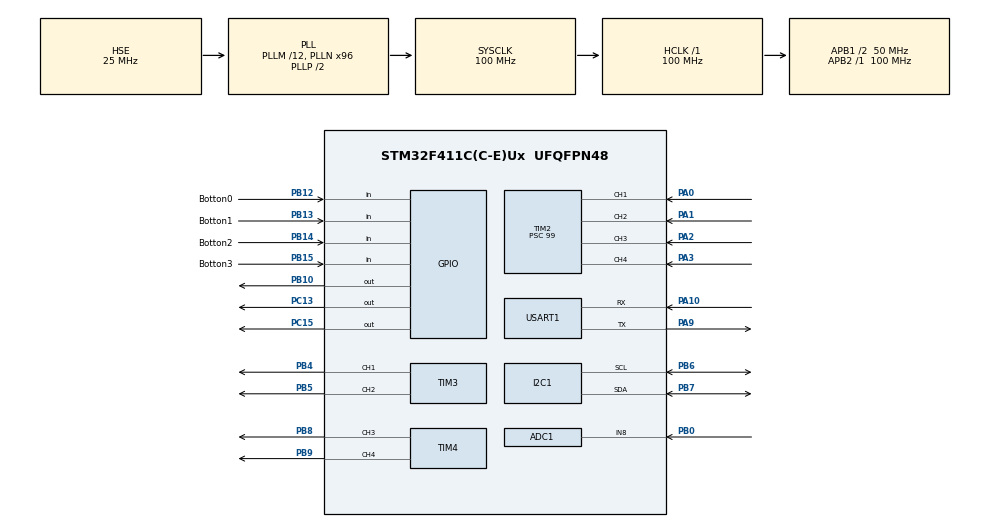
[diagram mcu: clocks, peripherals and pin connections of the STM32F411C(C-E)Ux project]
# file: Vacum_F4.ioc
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ADC1.Channel-2\#ChannelRegularConversion=ADC_CHANNEL_8
ADC1.NbrOfConversionFlag=1
ADC1.Rank-2\#ChannelRegularConversion=1
ADC1.SamplingTime-2\#ChannelRegularConversion=ADC_SAMPLETIME_3CYCLES
ADC1.master=1
Mcu.Family=STM32F4
Mcu.Name=STM32F411C(C-E)Ux
Mcu.Package=UFQFPN48
NVIC.PriorityGroup=NVIC_PRIORITYGROUP_4
NVIC.TIM2_IRQn=true\:0\:0\:false\:false\:true\:true\:true\:true
NVIC.TIM3_IRQn=true\:0\:0\:false\:false\:true\:true\:true\:true
NVIC.TIM4_IRQn=true\:0\:0\:false\:false\:true\:true\:true\:true
PA0-WKUP.Signal=S_TIM2_CH1_ETR
PA1.Signal=S_TIM2_CH2
PA10.Mode=Asynchronous
PA10.Signal=USART1_RX
PA13.Mode=Serial_Wire
PA13.Signal=SYS_JTMS-SWDIO
PA14.Mode=Serial_Wire
PA14.Signal=SYS_JTCK-SWCLK
PA2.Signal=S_TIM2_CH3
PA3.Signal=S_TIM2_CH4
PA9.Mode=Asynchronous
PA9.Signal=USART1_TX
PB0.Signal=ADCx_IN8
PB10.Signal=GPIO_Output
PB12.GPIO_Label=Botton0
PB12.GPIO_PuPd=GPIO_PULLUP
PB12.Signal=GPIO_Input
PB13.GPIO_Label=Botton1
PB13.GPIO_PuPd=GPIO_PULLUP
PB13.Signal=GPIO_Input
PB14.GPIO_Label=Botton2
PB14.GPIO_PuPd=GPIO_PULLUP
PB14.Signal=GPIO_Input
PB15.GPIO_Label=Botton3
PB15.GPIO_PuPd=GPIO_PULLUP
PB15.Signal=GPIO_Input
PB4.Signal=S_TIM3_CH1
PB5.Signal=S_TIM3_CH2
PB6.Mode=I2C
PB6.Signal=I2C1_SCL
PB7.Mode=I2C
PB7.Signal=I2C1_SDA
PB8.Signal=S_TIM4_CH3
PB9.Signal=S_TIM4_CH4
PC13-ANTI_TAMP.Signal=GPIO_Output
PC15-OSC32_OUT.Signal=GPIO_Output
PH0\ -\ OSC_IN.Mode=HSE-External-Oscillator
PH0\ -\ OSC_IN.Signal=RCC_OSC_IN
PH1\ -\ OSC_OUT.Mode=HSE-External-Oscillator
PH1\ -\ OSC_OUT.Signal=RCC_OSC_OUT
ProjectManager.HeapSize=0x200
ProjectManager.StackSize=0x400
ProjectManager.TargetToolchain=Makefile
RCC.48MHZClocksFreq_Value=50000000
RCC.AHBFreq_Value=100000000
RCC.APB1CLKDivider=RCC_HCLK_DIV2
RCC.APB1Freq_Value=50000000
RCC.APB1TimFreq_Value=100000000
RCC.APB2Freq_Value=100000000
RCC.APB2TimFreq_Value=100000000
RCC.CortexFreq_Value=100000000
RCC.HCLKFreq_Value=100000000
RCC.HSE_VALUE=25000000
RCC.HSI_VALUE=16000000
RCC.LSE_VALUE=32768
RCC.PLLM=12
RCC.PLLN=96
RCC.PLLSourceVirtual=RCC_PLLSOURCE_HSE
RCC.SYSCLKFreq_VALUE=100000000
RCC.SYSCLKSource=RCC_SYSCLKSOURCE_PLLCLK
RCC.VCOOutputFreq_Value=200000000
SH.ADCx_IN8.0=ADC1_IN8,IN8
SH.S_TIM2_CH1_ETR.0=TIM2_CH1,Input_Capture1_from_TI1
SH.S_TIM2_CH2.0=TIM2_CH2,Input_Capture2_from_TI2
SH.S_TIM2_CH3.0=TIM2_CH3,Input_Capture3_from_TI3
SH.S_TIM2_CH4.0=TIM2_CH4,Input_Capture4_from_TI4
SH.S_TIM3_CH1.0=TIM3_CH1,PWM Generation1 CH1
SH.S_TIM3_CH2.0=TIM3_CH2,PWM Generation2 CH2
SH.S_TIM4_CH3.0=TIM4_CH3,PWM Generation3 CH3
SH.S_TIM4_CH4.0=TIM4_CH4,PWM Generation4 CH4
TIM2.Channel-Input_Capture1_from_TI1=TIM_CHANNEL_1
TIM2.Channel-Input_Capture2_from_TI2=TIM_CHANNEL_2
TIM2.Channel-Input_Capture3_from_TI3=TIM_CHANNEL_3
TIM2.Channel-Input_Capture4_from_TI4=TIM_CHANNEL_4
TIM2.ClockDivision=TIM_CLOCKDIVISION_DIV1
TIM2.ICPolarity_CH1=TIM_INPUTCHANNELPOLARITY_RISING
TIM2.ICPolarity_CH2=TIM_INPUTCHANNELPOLARITY_RISING
TIM2.ICPolarity_CH3=TIM_INPUTCHANNELPOLARITY_RISING
TIM2.Prescaler=99
TIM3.Channel-PWM\ Generation1\ CH1=TIM_CHANNEL_1
TIM3.Channel-PWM\ Generation2\ CH2=TIM_CHANNEL_2
TIM4.Channel-PWM\ Generation3\ CH3=TIM_CHANNEL_3
TIM4.Channel-PWM\ Generation4\ CH4=TIM_CHANNEL_4
USART1.VirtualMode=VM_ASYNC
VP_TIM2_VS_ClockSourceINT.Mode=Internal
VP_TIM3_VS_ClockSourceINT.Mode=Internal
VP_TIM4_VS_ClockSourceINT.Mode=Internal
board=custom

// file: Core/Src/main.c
/* USER CODE BEGIN Header */
/**
  ******************************************************************************
  * @file           : main.c
  * @brief          : Main program body
  ******************************************************************************
  * @attention
  *
  * Copyright (c) 2024 STMicroelectronics.
  * All rights reserved.
  *
  * This software is licensed under terms that can be found in the LICENSE file
  * in the root directory of this software component.
  * If no LICENSE file comes with this software, it is provided AS-IS.
  *
  ******************************************************************************
  */
/* USER CODE END Header */
#include "main.h"

ADC_HandleTypeDef hadc1;

I2C_HandleTypeDef hi2c1;

TIM_HandleTypeDef htim2;
TIM_HandleTypeDef htim3;
TIM_HandleTypeDef htim4;

UART_HandleTypeDef huart1;

/* USER CODE BEGIN PV */
extern float distance[4];
extern uint8_t status[4];
/* USER CODE END PV */

void SystemClock_Config(void);
static void MX_GPIO_Init(void);
static void MX_ADC1_Init(void);
static void MX_TIM2_Init(void);
static void MX_I2C1_Init(void);
static void MX_TIM3_Init(void);
static void MX_TIM4_Init(void);
static void MX_USART1_UART_Init(void);

int main(void)
{

  /* USER CODE BEGIN 1 */
  MPU6050_t MPU6050_Data;

  /* USER CODE END 1 */

  /* MCU Configuration--------------------------------------------------------*/

  /* Reset of all peripherals, Initializes the Flash interface and the Systick. */
  HAL_Init();

  /* Configure the system clock */
  SystemClock_Config();

  /* Initialize all configured peripherals */
  MX_GPIO_Init();
  MX_ADC1_Init();
  MX_TIM2_Init();
  MX_I2C1_Init();
  MX_TIM3_Init();
  MX_TIM4_Init();
  MX_USART1_UART_Init();
  /* USER CODE BEGIN 2 */
  setup_motor_dc();
  HAL_Delay(500); // Delay
  while(MPU6050_Data.MPU6050_address != 0x68){
    MPU6050_Data.MPU6050_address =MPU6050_Init(&hi2c1);
    if(MPU6050_Data.MPU6050_address != 0x68){
      __HAL_I2C_DISABLE(&hi2c1);
      HAL_Delay(50);
      __HAL_I2C_ENABLE(&hi2c1);
      MPU6050_ResetProcedure(&hi2c1);
    }
  }

  HAL_TIM_IC_Start_IT(&htim2, TIM_CHANNEL_1);
  HAL_TIM_IC_Start_IT(&htim2, TIM_CHANNEL_2);
  HAL_TIM_IC_Start_IT(&htim2, TIM_CHANNEL_3);
  HAL_TIM_IC_Start_IT(&htim2, TIM_CHANNEL_4);
  /* USER CODE END 2 */

  /* Infinite loop */
  /* USER CODE BEGIN WHILE */
  while (1)
  {
    // Ultrasonic_Get_Distance();
    // MPU6050_Read_All(&hi2c1, &MPU6050_Data);
    Get_XYZ_Angles(&hi2c1);
    /* USER CODE END WHILE */

  }
}

void SystemClock_Config(void)
{
  RCC_OscInitTypeDef RCC_OscInitStruct = {0};
  RCC_ClkInitTypeDef RCC_ClkInitStruct = {0};

  /** Configure the main internal regulator output voltage
  */
  __HAL_RCC_PWR_CLK_ENABLE();
  __HAL_PWR_VOLTAGESCALING_CONFIG(PWR_REGULATOR_VOLTAGE_SCALE1);

  /** Initializes the RCC Oscillators according to the specified parameters
  * in the RCC_OscInitTypeDef structure.
  */
  RCC_OscInitStruct.OscillatorType = RCC_OSCILLATORTYPE_HSE;
  RCC_OscInitStruct.HSEState = RCC_HSE_ON;
  RCC_OscInitStruct.PLL.PLLState = RCC_PLL_ON;
  RCC_OscInitStruct.PLL.PLLSource = RCC_PLLSOURCE_HSE;
  RCC_OscInitStruct.PLL.PLLM = 12;
  RCC_OscInitStruct.PLL.PLLN = 96;
  RCC_OscInitStruct.PLL.PLLP = RCC_PLLP_DIV2;
  RCC_OscInitStruct.PLL.PLLQ = 4;
  if (HAL_RCC_OscConfig(&RCC_OscInitStruct) != HAL_OK)
  {
    Error_Handler();
  }

  /** Initializes the CPU, AHB and APB buses clocks
  */
  RCC_ClkInitStruct.ClockType = RCC_CLOCKTYPE_HCLK|RCC_CLOCKTYPE_SYSCLK
                              |RCC_CLOCKTYPE_PCLK1|RCC_CLOCKTYPE_PCLK2;
  RCC_ClkInitStruct.SYSCLKSource = RCC_SYSCLKSOURCE_PLLCLK;
  RCC_ClkInitStruct.AHBCLKDivider = RCC_SYSCLK_DIV1;
  RCC_ClkInitStruct.APB1CLKDivider = RCC_HCLK_DIV2;
  RCC_ClkInitStruct.APB2CLKDivider = RCC_HCLK_DIV1;

  if (HAL_RCC_ClockConfig(&RCC_ClkInitStruct, FLASH_LATENCY_3) != HAL_OK)
  {
    Error_Handler();
  }
}

static void MX_ADC1_Init(void)
{

  ADC_ChannelConfTypeDef sConfig = {0};

  /** Configure the global features of the ADC (Clock, Resolution, Data Alignment and number of conversion)
  */
  hadc1.Instance = ADC1;
  hadc1.Init.ClockPrescaler = ADC_CLOCK_SYNC_PCLK_DIV4;
  hadc1.Init.Resolution = ADC_RESOLUTION_12B;
  hadc1.Init.ScanConvMode = DISABLE;
  hadc1.Init.ContinuousConvMode = DISABLE;
  hadc1.Init.DiscontinuousConvMode = DISABLE;
  hadc1.Init.ExternalTrigConvEdge = ADC_EXTERNALTRIGCONVEDGE_NONE;
  hadc1.Init.ExternalTrigConv = ADC_SOFTWARE_START;
  hadc1.Init.DataAlign = ADC_DATAALIGN_RIGHT;
  hadc1.Init.NbrOfConversion = 1;
  hadc1.Init.DMAContinuousRequests = DISABLE;
  hadc1.Init.EOCSelection = ADC_EOC_SINGLE_CONV;
  if (HAL_ADC_Init(&hadc1) != HAL_OK)
  {
    Error_Handler();
  }

  /** Configure for the selected ADC regular channel its corresponding rank in the sequencer and its sample time.
  */
  sConfig.Channel = ADC_CHANNEL_8;
  sConfig.Rank = 1;
  sConfig.SamplingTime = ADC_SAMPLETIME_3CYCLES;
  if (HAL_ADC_ConfigChannel(&hadc1, &sConfig) != HAL_OK)
  {
    Error_Handler();
  }

}

static void MX_I2C1_Init(void)
{

  hi2c1.Instance = I2C1;
  hi2c1.Init.ClockSpeed = 100000;
  hi2c1.Init.DutyCycle = I2C_DUTYCYCLE_2;
  hi2c1.Init.OwnAddress1 = 0;
  hi2c1.Init.AddressingMode = I2C_ADDRESSINGMODE_7BIT;
  hi2c1.Init.DualAddressMode = I2C_DUALADDRESS_DISABLE;
  hi2c1.Init.OwnAddress2 = 0;
  hi2c1.Init.GeneralCallMode = I2C_GENERALCALL_DISABLE;
  hi2c1.Init.NoStretchMode = I2C_NOSTRETCH_DISABLE;
  if (HAL_I2C_Init(&hi2c1) != HAL_OK)
  {
    Error_Handler();
  }

}

static void MX_TIM2_Init(void)
{

  TIM_ClockConfigTypeDef sClockSourceConfig = {0};
  TIM_MasterConfigTypeDef sMasterConfig = {0};
  TIM_IC_InitTypeDef sConfigIC = {0};

  htim2.Instance = TIM2;
  htim2.Init.Prescaler = 99;
  htim2.Init.CounterMode = TIM_COUNTERMODE_UP;
  htim2.Init.Period = 4294967295;
  htim2.Init.ClockDivision = TIM_CLOCKDIVISION_DIV1;
  htim2.Init.AutoReloadPreload = TIM_AUTORELOAD_PRELOAD_DISABLE;
  if (HAL_TIM_Base_Init(&htim2) != HAL_OK)
  {
    Error_Handler();
  }
  sClockSourceConfig.ClockSource = TIM_CLOCKSOURCE_INTERNAL;
  if (HAL_TIM_ConfigClockSource(&htim2, &sClockSourceConfig) != HAL_OK)
  {
    Error_Handler();
  }
  if (HAL_TIM_IC_Init(&htim2) != HAL_OK)
  {
    Error_Handler();
  }
  sMasterConfig.MasterOutputTrigger = TIM_TRGO_RESET;
  sMasterConfig.MasterSlaveMode = TIM_MASTERSLAVEMODE_DISABLE;
  if (HAL_TIMEx_MasterConfigSynchronization(&htim2, &sMasterConfig) != HAL_OK)
  {
    Error_Handler();
  }
  sConfigIC.ICPolarity = TIM_INPUTCHANNELPOLARITY_RISING;
  sConfigIC.ICSelection = TIM_ICSELECTION_DIRECTTI;
  sConfigIC.ICPrescaler = TIM_ICPSC_DIV1;
  sConfigIC.ICFilter = 0;
  if (HAL_TIM_IC_ConfigChannel(&htim2, &sConfigIC, TIM_CHANNEL_1) != HAL_OK)
  {
    Error_Handler();
  }
  if (HAL_TIM_IC_ConfigChannel(&htim2, &sConfigIC, TIM_CHANNEL_2) != HAL_OK)
  {
    Error_Handler();
  }
  if (HAL_TIM_IC_ConfigChannel(&htim2, &sConfigIC, TIM_CHANNEL_3) != HAL_OK)
  {
    Error_Handler();
  }
  if (HAL_TIM_IC_ConfigChannel(&htim2, &sConfigIC, TIM_CHANNEL_4) != HAL_OK)
  {
    Error_Handler();
  }

}

static void MX_TIM3_Init(void)
{

  TIM_ClockConfigTypeDef sClockSourceConfig = {0};
  TIM_MasterConfigTypeDef sMasterConfig = {0};
  TIM_OC_InitTypeDef sConfigOC = {0};

  htim3.Instance = TIM3;
  htim3.Init.Prescaler = 0;
  htim3.Init.CounterMode = TIM_COUNTERMODE_UP;
  htim3.Init.Period = 65535;
  htim3.Init.ClockDivision = TIM_CLOCKDIVISION_DIV1;
  htim3.Init.AutoReloadPreload = TIM_AUTORELOAD_PRELOAD_DISABLE;
  if (HAL_TIM_Base_Init(&htim3) != HAL_OK)
  {
    Error_Handler();
  }
  sClockSourceConfig.ClockSource = TIM_CLOCKSOURCE_INTERNAL;
  if (HAL_TIM_ConfigClockSource(&htim3, &sClockSourceConfig) != HAL_OK)
  {
    Error_Handler();
  }
  if (HAL_TIM_PWM_Init(&htim3) != HAL_OK)
  {
    Error_Handler();
  }
  sMasterConfig.MasterOutputTrigger = TIM_TRGO_RESET;
  sMasterConfig.MasterSlaveMode = TIM_MASTERSLAVEMODE_DISABLE;
  if (HAL_TIMEx_MasterConfigSynchronization(&htim3, &sMasterConfig) != HAL_OK)
  {
    Error_Handler();
  }
  sConfigOC.OCMode = TIM_OCMODE_PWM1;
  sConfigOC.Pulse = 0;
  sConfigOC.OCPolarity = TIM_OCPOLARITY_HIGH;
  sConfigOC.OCFastMode = TIM_OCFAST_DISABLE;
  if (HAL_TIM_PWM_ConfigChannel(&htim3, &sConfigOC, TIM_CHANNEL_1) != HAL_OK)
  {
    Error_Handler();
  }
  if (HAL_TIM_PWM_ConfigChannel(&htim3, &sConfigOC, TIM_CHANNEL_2) != HAL_OK)
  {
    Error_Handler();
  }
  HAL_TIM_MspPostInit(&htim3);

}

static void MX_TIM4_Init(void)
{

  TIM_ClockConfigTypeDef sClockSourceConfig = {0};
  TIM_MasterConfigTypeDef sMasterConfig = {0};
  TIM_OC_InitTypeDef sConfigOC = {0};

  htim4.Instance = TIM4;
  htim4.Init.Prescaler = 0;
  htim4.Init.CounterMode = TIM_COUNTERMODE_UP;
  htim4.Init.Period = 65535;
  htim4.Init.ClockDivision = TIM_CLOCKDIVISION_DIV1;
  htim4.Init.AutoReloadPreload = TIM_AUTORELOAD_PRELOAD_DISABLE;
  if (HAL_TIM_Base_Init(&htim4) != HAL_OK)
  {
    Error_Handler();
  }
  sClockSourceConfig.ClockSource = TIM_CLOCKSOURCE_INTERNAL;
  if (HAL_TIM_ConfigClockSource(&htim4, &sClockSourceConfig) != HAL_OK)
  {
    Error_Handler();
  }
  if (HAL_TIM_PWM_Init(&htim4) != HAL_OK)
  {
    Error_Handler();
  }
  sMasterConfig.MasterOutputTrigger = TIM_TRGO_RESET;
  sMasterConfig.MasterSlaveMode = TIM_MASTERSLAVEMODE_DISABLE;
  if (HAL_TIMEx_MasterConfigSynchronization(&htim4, &sMasterConfig) != HAL_OK)
  {
    Error_Handler();
  }
  sConfigOC.OCMode = TIM_OCMODE_PWM1;
  sConfigOC.Pulse = 0;
  sConfigOC.OCPolarity = TIM_OCPOLARITY_HIGH;
  sConfigOC.OCFastMode = TIM_OCFAST_DISABLE;
  if (HAL_TIM_PWM_ConfigChannel(&htim4, &sConfigOC, TIM_CHANNEL_3) != HAL_OK)
  {
    Error_Handler();
  }
  if (HAL_TIM_PWM_ConfigChannel(&htim4, &sConfigOC, TIM_CHANNEL_4) != HAL_OK)
  {
    Error_Handler();
  }
  HAL_TIM_MspPostInit(&htim4);

}

static void MX_USART1_UART_Init(void)
{

  huart1.Instance = USART1;
  huart1.Init.BaudRate = 115200;
  huart1.Init.WordLength = UART_WORDLENGTH_8B;
  huart1.Init.StopBits = UART_STOPBITS_1;
  huart1.Init.Parity = UART_PARITY_NONE;
  huart1.Init.Mode = UART_MODE_TX_RX;
  huart1.Init.HwFlowCtl = UART_HWCONTROL_NONE;
  huart1.Init.OverSampling = UART_OVERSAMPLING_16;
  if (HAL_UART_Init(&huart1) != HAL_OK)
  {
    Error_Handler();
  }

}

static void MX_GPIO_Init(void)
{
  GPIO_InitTypeDef GPIO_InitStruct = {0};

  /* GPIO Ports Clock Enable */
  __HAL_RCC_GPIOC_CLK_ENABLE();
  __HAL_RCC_GPIOH_CLK_ENABLE();
  __HAL_RCC_GPIOA_CLK_ENABLE();
  __HAL_RCC_GPIOB_CLK_ENABLE();

  /*Configure GPIO pin Output Level */
  HAL_GPIO_WritePin(GPIOC, GPIO_PIN_13|GPIO_PIN_15, GPIO_PIN_RESET);

  /*Configure GPIO pin Output Level */
  HAL_GPIO_WritePin(GPIOB, GPIO_PIN_10, GPIO_PIN_RESET);

  /*Configure GPIO pins : PC13 PC15 */
  GPIO_InitStruct.Pin = GPIO_PIN_13|GPIO_PIN_15;
  GPIO_InitStruct.Mode = GPIO_MODE_OUTPUT_PP;
  GPIO_InitStruct.Pull = GPIO_NOPULL;
  GPIO_InitStruct.Speed = GPIO_SPEED_FREQ_LOW;
  HAL_GPIO_Init(GPIOC, &GPIO_InitStruct);

  /*Configure GPIO pin : PB10 */
  GPIO_InitStruct.Pin = GPIO_PIN_10;
  GPIO_InitStruct.Mode = GPIO_MODE_OUTPUT_PP;
  GPIO_InitStruct.Pull = GPIO_NOPULL;
  GPIO_InitStruct.Speed = GPIO_SPEED_FREQ_LOW;
  HAL_GPIO_Init(GPIOB, &GPIO_InitStruct);

  /*Configure GPIO pins : Botton0_Pin Botton1_Pin Botton2_Pin Botton3_Pin */
  GPIO_InitStruct.Pin = Botton0_Pin|Botton1_Pin|Botton2_Pin|Botton3_Pin;
  GPIO_InitStruct.Mode = GPIO_MODE_INPUT;
  GPIO_InitStruct.Pull = GPIO_PULLUP;
  HAL_GPIO_Init(GPIOB, &GPIO_InitStruct);

}

void Error_Handler(void)
{
  __disable_irq();
  while (1)
  {
  }
}
